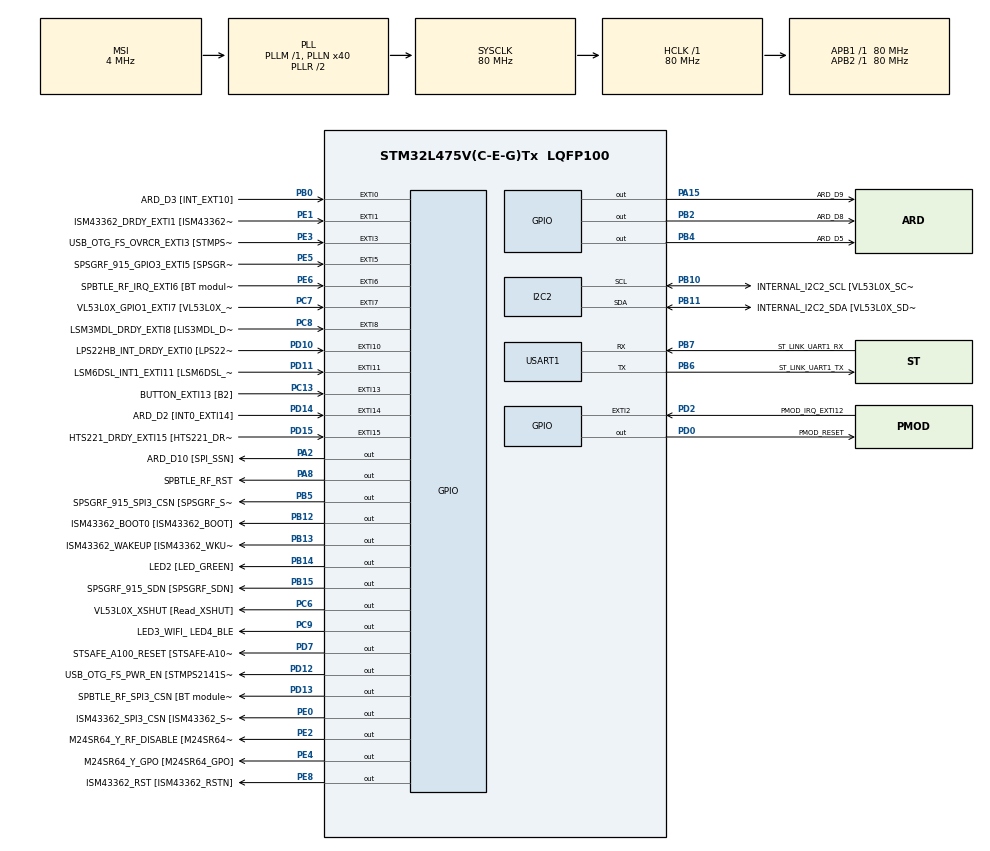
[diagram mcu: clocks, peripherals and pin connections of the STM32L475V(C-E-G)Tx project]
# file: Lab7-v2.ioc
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I2C2.Timing=0x10D19CE4
Mcu.Family=STM32L4
Mcu.Name=STM32L475V(C-E-G)Tx
Mcu.Package=LQFP100
NVIC.EXTI15_10_IRQn=true\:0\:0\:false\:false\:true\:true\:true\:true
NVIC.EXTI9_5_IRQn=true\:0\:0\:false\:false\:true\:true\:true\:true
NVIC.PriorityGroup=NVIC_PRIORITYGROUP_4
PA0.GPIO_Label=ARD_D1 [UART4_TX]
PA0.Signal=UART4_TX
PA1.GPIO_Label=ARD_D0 [UART4_RX]
PA1.Signal=UART4_RX
PA10.GPIO_Label=USB_OTG_FS_ID
PA10.Signal=USB_OTG_FS_ID
PA11.GPIO_Label=USB_OTG_FS_DM
PA11.Signal=USB_OTG_FS_DM
PA12.GPIO_Label=USB_OTG_FS_DP
PA12.Signal=USB_OTG_FS_DP
PA13\ (JTMS-SWDIO).GPIO_Label=SYS_JTMS_SWDIO
PA13\ (JTMS-SWDIO).Signal=SYS_JTMS-SWDIO
PA14\ (JTCK-SWCLK).GPIO_Label=SYS_JTCK_SWCLK
PA14\ (JTCK-SWCLK).Signal=SYS_JTCK-SWCLK
PA15\ (JTDI).GPIO_Label=ARD_D9
PA15\ (JTDI).Signal=GPIO_Output
PA2.GPIO_Label=ARD_D10 [SPI_SSN]
PA2.Signal=GPIO_Output
PA3.GPIO_Label=ARD_D4
PA3.Signal=S_TIM2_CH4
PA4.GPIO_Label=ARD_D7
PA4.Signal=ADCx_IN9
PA5.GPIO_Label=ARD_D13 [SPI1_SCK]
PA5.Signal=SPI1_SCK
PA6.GPIO_Label=ARD_D12 [SPI1_MISO]
PA6.Signal=SPI1_MISO
PA7.GPIO_Label=ARD_D11 [SPI1_MOSI]
PA7.Signal=SPI1_MOSI
PA8.GPIO_Label=SPBTLE_RF_RST
PA8.Signal=GPIO_Output
PA9.GPIO_Label=USB_OTG_FS_VBUS [STMPS2141STR_OUT]
PA9.Signal=USB_OTG_FS_VBUS
PB0.GPIO_Label=ARD_D3 [INT_EXT10]
PB0.Signal=GPXTI0
PB1.GPIO_Label=ARD_D6 [ADC1_IN6]
PB1.Signal=ADCx_IN16
PB10.GPIO_Label=INTERNAL_I2C2_SCL [VL53L0X_SCL]
PB10.Mode=I2C
PB10.Signal=I2C2_SCL
PB11.GPIO_Label=INTERNAL_I2C2_SDA [VL53L0X_SDA]
PB11.Mode=I2C
PB11.Signal=I2C2_SDA
PB12.GPIO_Label=ISM43362_BOOT0 [ISM43362_BOOT]
PB12.Signal=GPIO_Output
PB13.GPIO_Label=ISM43362_WAKEUP [ISM43362_WKUP]
PB13.Signal=GPIO_Output
PB14.GPIO_Label=LED2 [LED_GREEN]
PB14.Signal=GPIO_Output
PB15.GPIO_Label=SPSGRF_915_SDN [SPSGRF_SDN]
PB15.Signal=GPIO_Output
PB2.GPIO_Label=ARD_D8
PB2.Signal=GPIO_Output
PB3\ (JTDO-TRACESWO).GPIO_Label=SYS_JTD0_SWO
PB3\ (JTDO-TRACESWO).Signal=SYS_JTDO-SWO
PB4\ (NJTRST).GPIO_Label=ARD_D5
PB4\ (NJTRST).Signal=GPIO_Output
PB5.GPIO_Label=SPSGRF_915_SPI3_CSN [SPSGRF_SPI_CS]
PB5.PinState=GPIO_PIN_SET
PB5.Signal=GPIO_Output
PB6.GPIO_Label=ST_LINK_UART1_TX
PB6.Mode=Asynchronous
PB6.Signal=USART1_TX
PB7.GPIO_Label=ST_LINK_UART1_RX
PB7.Mode=Asynchronous
PB7.Signal=USART1_RX
PB8.GPIO_Label=ARD_D15 [I2C1_SCL]
PB8.Signal=I2C1_SCL
PB9.GPIO_Label=ARD_D14 [I2C1_SDA]
PB9.Signal=I2C1_SDA
PC0.GPIO_Label=ARD_A5 [ADC]
PC0.Signal=ADCx_IN1
PC1.GPIO_Label=ARD_A4 [ADC]
PC1.Signal=ADCx_IN2
PC10.GPIO_Label=INTERNAL_SPI3_SCK [BT module_SPI_SCLK] [ISM43362_SCK]
PC10.Signal=SPI3_SCK
PC11.GPIO_Label=INTERNAL_SPI3_MISO [BT module_SPI_MISO] [ISM43362_MISO]
PC11.Signal=SPI3_MISO
PC12.GPIO_Label=INTERNAL_SPI3_MOSI [BT module_SPI_MOSI] [ISM43362_MOSI]
PC12.Signal=SPI3_MOSI
PC13.GPIO_Label=BUTTON_EXTI13 [B2]
PC13.GPIO_ModeDefaultEXTI=GPIO_MODE_IT_FALLING
PC13.Signal=GPXTI13
PC14-OSC32_IN\ (PC14).Signal=RCC_OSC32_IN
PC15-OSC32_OUT\ (PC15).Signal=RCC_OSC32_OUT
PC2.GPIO_Label=ARD_A3 [ADC]
PC2.Signal=ADCx_IN3
PC3.GPIO_Label=ARD_A2 [ADC]
PC3.Signal=ADCx_IN4
PC4.GPIO_Label=ARD_A1 [ADC]
PC4.Signal=ADCx_IN13
PC5.GPIO_Label=ARD_A0 [ADC]
PC5.Signal=ADCx_IN14
PC6.GPIO_Label=VL53L0X_XSHUT [Read_XSHUT]
PC6.Signal=GPIO_Output
PC7.GPIO_Label=VL53L0X_GPIO1_EXTI7 [VL53L0X_GPIO1]
PC7.Signal=GPXTI7
PC8.GPIO_Label=LSM3MDL_DRDY_EXTI8 [LIS3MDL_DRDY]
PC8.Signal=GPXTI8
PC9.GPIO_Label=LED3_WIFI_ LED4_BLE
PC9.Signal=GPIO_Output
PD0.GPIO_Label=PMOD_RESET
PD0.Signal=GPIO_Output
PD1.GPIO_Label=PMOD_SPI2_SCK
PD1.Signal=SPI2_SCK
PD10.GPIO_Label=LPS22HB_INT_DRDY_EXTI0 [LPS22HB_INT_DRDY] 
PD10.Signal=GPXTI10
PD11.GPIO_Label=LSM6DSL_INT1_EXTI11 [LSM6DSL_INT1]
PD11.Signal=GPXTI11
PD12.GPIO_Label=USB_OTG_FS_PWR_EN [STMPS2141STR_EN]
PD12.Signal=GPIO_Output
PD13.GPIO_Label=SPBTLE_RF_SPI3_CSN [BT module_SPI_CS]
PD13.PinState=GPIO_PIN_SET
PD13.Signal=GPIO_Output
PD14.GPIO_Label=ARD_D2 [INT0_EXTI14]
PD14.Signal=GPXTI14
PD15.GPIO_Label=HTS221_DRDY_EXTI15 [HTS221_DRDY]
PD15.Signal=GPXTI15
PD2.GPIO_Label=PMOD_IRQ_EXTI12
PD2.Signal=GPXTI2
PD3.GPIO_Label=PMOD_UART2_CTS
PD3.Signal=USART2_CTS
PD4.GPIO_Label=PMOD_UART2_RTS
PD4.Signal=USART2_RTS
PD5.GPIO_Label=PMOD_UART2_TX
PD5.Signal=USART2_TX
PD6.GPIO_Label=PMOD_UART2_RX
PD6.Signal=USART2_RX
PD7.GPIO_Label=STSAFE_A100_RESET [STSAFE-A100_RESET]
PD7.Signal=GPIO_Output
PD8.GPIO_Label=INTERNAL_UART3_TX [ISM43362_RX]
PD8.Signal=USART3_TX
PD9.GPIO_Label=INTERNAL_UART3_RX [ISM43362_TX]
PD9.Signal=USART3_RX
PE0.GPIO_Label=ISM43362_SPI3_CSN [ISM43362_SSN]
PE0.PinState=GPIO_PIN_SET
PE0.Signal=GPIO_Output
PE1.GPIO_Label=ISM43362_DRDY_EXTI1 [ISM43362_DATARDY]
PE1.Signal=GPXTI1
PE10.GPIO_Label=QUADSPI_CLK [MX25R6435F_SCLK]
PE10.Signal=QUADSPI_CLK
PE11.GPIO_Label=QUADSPI_NCS [MX25R6435F_SCLK]
PE11.Signal=QUADSPI_NCS
PE12.GPIO_Label=OQUADSPI_BK1_IO0 [MX25R6435F_IO0]
PE12.Signal=QUADSPI_BK1_IO0
PE13.GPIO_Label=QUADSPI_BK1_IO1 [MX25R6435F_IO1]
PE13.Signal=QUADSPI_BK1_IO1
PE14.GPIO_Label=QUAD_SPI_BK1_IO2 [MX25R6435F_IO2]
PE14.Signal=QUADSPI_BK1_IO2
PE15.GPIO_Label=QUAD_SPI_BK1_IO3 [MX25R6435F_IO3]
PE15.Signal=QUADSPI_BK1_IO3
PE2.GPIO_Label=M24SR64_Y_RF_DISABLE [M24SR64_RFDIS]
PE2.Signal=GPIO_Output
PE3.GPIO_Label=USB_OTG_FS_OVRCR_EXTI3 [STMPS2141STR_FAULT]
PE3.Signal=GPXTI3
PE4.GPIO_Label=M24SR64_Y_GPO [M24SR64_GPO]
PE4.Signal=GPIO_Output
PE5.GPIO_Label=SPSGRF_915_GPIO3_EXTI5 [SPSGRF_GPIO_3]
PE5.Signal=GPXTI5
PE6.GPIO_Label=SPBTLE_RF_IRQ_EXTI6 [BT module_SPI_IRQ]
PE6.Signal=GPXTI6
PE7.GPIO_Label=DFSDM1_DATIN2 [MP34DT01_DOUT]
PE7.Signal=S_DATAIN2DFSDM1
PE8.GPIO_Label=ISM43362_RST [ISM43362_RSTN]
PE8.Signal=GPIO_Output
PE9.GPIO_Label=DFSDM1_CKOUT [MP34DT01_CLK]
PE9.Signal=S_CKOUTDFSDM1
ProjectManager.HeapSize=0x200
ProjectManager.StackSize=0x400
ProjectManager.TargetToolchain=STM32CubeIDE
RCC.ADCFreq_Value=48000000
RCC.AHBFreq_Value=80000000
RCC.APB1Freq_Value=80000000
RCC.APB1TimFreq_Value=80000000
RCC.APB2Freq_Value=80000000
RCC.APB2TimFreq_Value=80000000
RCC.CortexFreq_Value=80000000
RCC.HCLKFreq_Value=80000000
RCC.HSE_VALUE=8000000
RCC.HSI_VALUE=16000000
RCC.LSE_VALUE=32768
RCC.MSI_VALUE=4000000
RCC.PLLN=40
RCC.PLLSAI1N=24
RCC.SYSCLKFreq_VALUE=80000000
RCC.SYSCLKSource=RCC_SYSCLKSOURCE_PLLCLK
RCC.USBFreq_Value=48000000
RCC.VCOOutputFreq_Value=160000000
SH.ADCx_IN1.0=ADC1_IN1
SH.ADCx_IN13.0=ADC1_IN13
SH.ADCx_IN14.0=ADC1_IN14
SH.ADCx_IN16.0=ADC1_IN16
SH.ADCx_IN2.0=ADC1_IN2
SH.ADCx_IN3.0=ADC1_IN3
SH.ADCx_IN4.0=ADC1_IN4
SH.ADCx_IN9.0=ADC1_IN9
SH.S_CKOUTDFSDM1.0=DFSDM1_CKOUT
SH.S_DATAIN2DFSDM1.0=DFSDM1_DATIN2
SH.S_TIM2_CH4.0=TIM2_CH4
USART1.VirtualMode-Asynchronous=VM_ASYNC
board=B-L475E-IOT01A1

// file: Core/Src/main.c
/* USER CODE BEGIN Header */
/**
  ******************************************************************************
  * @file           : main.c
  * @brief          : Main program body
  ******************************************************************************
  * @attention
  *
  * Copyright (c) 2025 STMicroelectronics.
  * All rights reserved.
  *
  * This software is licensed under terms that can be found in the LICENSE file
  * in the root directory of this software component.
  * If no LICENSE file comes with this software, it is provided AS-IS.
  *
  ******************************************************************************
  */
/* USER CODE END Header */
#include "main.h"
#include "arm_math.h"
#include "../../Drivers/BSP/B-L475E-IOT01/stm32l475e_iot01.h"
/* USER CODE BEGIN Includes */
#include "math_helper.h"

/* ----------------------------------------------------------------------
** Macro Defines
** ------------------------------------------------------------------- */

#define TEST_LENGTH_SAMPLES  320
#define SNR_THRESHOLD_F32    140.0f
//#define BLOCK_SIZE            32
#define NUM_TAPS              29
#define NUM_TAPS 29
#define BLOCK_SIZE 1   // 每次處理1筆資料
#define SAMPLE_DELAY 1000 // 每100ms取樣一次
/* -------------------------------------------------------------------
 * The input signal and reference output (computed with MATLAB)
 * are defined externally in arm_fir_lpf_data.c.
 * ------------------------------------------------------------------- */

extern float32_t testInput_f32_1kHz_15kHz[TEST_LENGTH_SAMPLES];
extern float32_t refOutput[TEST_LENGTH_SAMPLES];

/* -------------------------------------------------------------------
 * Declare Test output buffer
 * ------------------------------------------------------------------- */

static float32_t testOutput[TEST_LENGTH_SAMPLES];

/* -------------------------------------------------------------------
 * Declare State buffer of size (numTaps + blockSize - 1)
 * ------------------------------------------------------------------- */

static float32_t firStateF32[BLOCK_SIZE + NUM_TAPS - 1];

/* ----------------------------------------------------------------------
** FIR Coefficients buffer generated using fir1() MATLAB function.
** fir1(28, 6/24)
** ------------------------------------------------------------------- */

const float32_t firCoeffs32[NUM_TAPS] = {
  -0.0018225230f, -0.0015879294f, +0.0000000000f, +0.0036977508f, +0.0080754303f, +0.0085302217f, -0.0000000000f, -0.0173976984f,
  -0.0341458607f, -0.0333591565f, +0.0000000000f, +0.0676308395f, +0.1522061835f, +0.2229246956f, +0.2504960933f, +0.2229246956f,
  +0.1522061835f, +0.0676308395f, +0.0000000000f, -0.0333591565f, -0.0341458607f, -0.0173976984f, -0.0000000000f, +0.0085302217f,
  +0.0080754303f, +0.0036977508f, +0.0000000000f, -0.0015879294f, -0.0018225230f
};

/* ------------------------------------------------------------------
 * Global variables for FIR LPF Example
 * ------------------------------------------------------------------- */

uint32_t blockSize = BLOCK_SIZE;
uint32_t numBlocks = TEST_LENGTH_SAMPLES/BLOCK_SIZE;

float32_t  snr;

/* ----------------------------------------------------------------------
 * FIR LPF Example
 * ------------------------------------------------------------------- */
/* USER CODE END Includes */

I2C_HandleTypeDef hi2c2;

UART_HandleTypeDef huart1;

/* USER CODE BEGIN PV */
/* FIR instance and state for 3 axes */
arm_fir_instance_f32 Sx, Sy, Sz;
float32_t firStateX[NUM_TAPS + BLOCK_SIZE - 1];
float32_t firStateY[NUM_TAPS + BLOCK_SIZE - 1];
float32_t firStateZ[NUM_TAPS + BLOCK_SIZE - 1];

/* Function Prototypes */
void SystemClock_Config(void);
static void MX_GPIO_Init(void);
static void MX_USART1_UART_Init(void);
static void MX_I2C2_Init(void);
/* USER CODE END PV */

void SystemClock_Config(void);
static void MX_GPIO_Init(void);
static void MX_USART1_UART_Init(void);
static void MX_I2C2_Init(void);
/* USER CODE BEGIN PFP */
int __io_putchar(int ch)
{
HAL_UART_Transmit(&huart1, (uint8_t *)&ch, 1, 0xFFFF);
return ch;
}

/* USER CODE END PFP */

int main(void)
{

  /* MCU Configuration--------------------------------------------------------*/

  /* Reset of all peripherals, Initializes the Flash interface and the Systick. */
  HAL_Init();

  /* Configure the system clock */
  SystemClock_Config();

  /* Initialize all configured peripherals */
  MX_GPIO_Init();
  MX_USART1_UART_Init();
  MX_I2C2_Init();
  /* USER CODE BEGIN 2 */
  printf("\r\n=== 3-Axis Accelerometer FIR Filter Demo ===\r\n");

    /* Initialize Accelerometer (LSM6DSL) */
    BSP_ACCELERO_Init();

    /* Initialize FIR filters for X/Y/Z */
    arm_fir_init_f32(&Sx, NUM_TAPS, (float32_t *)firCoeffs32, firStateX, BLOCK_SIZE);
    arm_fir_init_f32(&Sy, NUM_TAPS, (float32_t *)firCoeffs32, firStateY, BLOCK_SIZE);
    arm_fir_init_f32(&Sz, NUM_TAPS, (float32_t *)firCoeffs32, firStateZ, BLOCK_SIZE);

    int16_t rawData[3];
    float32_t x_in, y_in, z_in;
    float32_t x_out, y_out, z_out;
    printf("=== FIR Test Mode ===\r\n");
    Test_FIR_Verify();

  /* USER CODE END 2 */

  /* Infinite loop */
  /* USER CODE BEGIN WHILE */
  while (1)
  {
	    BSP_ACCELERO_AccGetXYZ(rawData);
	    x_in = (float32_t)rawData[0];
	    y_in = (float32_t)rawData[1];
	    z_in = (float32_t)rawData[2];

	    /* Apply FIR to each axis */
	    arm_fir_f32(&Sx, &x_in, &x_out, BLOCK_SIZE);
	    arm_fir_f32(&Sy, &y_in, &y_out, BLOCK_SIZE);
	    arm_fir_f32(&Sz, &z_in, &z_out, BLOCK_SIZE);

	    /* Print results */
	    printf("X_raw=%6d    Y_raw=%6d     Z_raw=%6d \r\n",rawData[0], rawData[1],  rawData[2]);
	    printf("X_filt=%8.2f Y_filt=%8.2f  Z_filt=%8.2f\r\n", x_out, y_out, z_out);

	    HAL_Delay(SAMPLE_DELAY);
    /* USER CODE END WHILE */

  }
}

void Test_FIR_Verify(void)
{
    float32_t testInput[10] = {1, 0, 0, 0, 0, 0, 0, 0, 0, 0}; // Impulse input
    float32_t testOutput[10];
    arm_fir_instance_f32 S;
    float32_t firState[NUM_TAPS + 9];

    arm_fir_init_f32(&S, NUM_TAPS, (float32_t *)firCoeffs32, firState, 1);

    for (int i = 0; i < 10; i++) {
        arm_fir_f32(&S, &testInput[i], &testOutput[i], 1);
        printf("y[%2d] = %.7f\r\n", i, testOutput[i]);
    }
}

void SystemClock_Config(void)
{
  RCC_OscInitTypeDef RCC_OscInitStruct = {0};
  RCC_ClkInitTypeDef RCC_ClkInitStruct = {0};

  /** Configure the main internal regulator output voltage
  */
  if (HAL_PWREx_ControlVoltageScaling(PWR_REGULATOR_VOLTAGE_SCALE1) != HAL_OK)
  {
    Error_Handler();
  }

  /** Initializes the RCC Oscillators according to the specified parameters
  * in the RCC_OscInitTypeDef structure.
  */
  RCC_OscInitStruct.OscillatorType = RCC_OSCILLATORTYPE_MSI;
  RCC_OscInitStruct.MSIState = RCC_MSI_ON;
  RCC_OscInitStruct.MSICalibrationValue = 0;
  RCC_OscInitStruct.MSIClockRange = RCC_MSIRANGE_6;
  RCC_OscInitStruct.PLL.PLLState = RCC_PLL_ON;
  RCC_OscInitStruct.PLL.PLLSource = RCC_PLLSOURCE_MSI;
  RCC_OscInitStruct.PLL.PLLM = 1;
  RCC_OscInitStruct.PLL.PLLN = 40;
  RCC_OscInitStruct.PLL.PLLP = RCC_PLLP_DIV7;
  RCC_OscInitStruct.PLL.PLLQ = RCC_PLLQ_DIV2;
  RCC_OscInitStruct.PLL.PLLR = RCC_PLLR_DIV2;
  if (HAL_RCC_OscConfig(&RCC_OscInitStruct) != HAL_OK)
  {
    Error_Handler();
  }

  /** Initializes the CPU, AHB and APB buses clocks
  */
  RCC_ClkInitStruct.ClockType = RCC_CLOCKTYPE_HCLK|RCC_CLOCKTYPE_SYSCLK
                              |RCC_CLOCKTYPE_PCLK1|RCC_CLOCKTYPE_PCLK2;
  RCC_ClkInitStruct.SYSCLKSource = RCC_SYSCLKSOURCE_PLLCLK;
  RCC_ClkInitStruct.AHBCLKDivider = RCC_SYSCLK_DIV1;
  RCC_ClkInitStruct.APB1CLKDivider = RCC_HCLK_DIV1;
  RCC_ClkInitStruct.APB2CLKDivider = RCC_HCLK_DIV1;

  if (HAL_RCC_ClockConfig(&RCC_ClkInitStruct, FLASH_LATENCY_4) != HAL_OK)
  {
    Error_Handler();
  }
}

static void MX_I2C2_Init(void)
{

  hi2c2.Instance = I2C2;
  hi2c2.Init.Timing = 0x10D19CE4;
  hi2c2.Init.OwnAddress1 = 0;
  hi2c2.Init.AddressingMode = I2C_ADDRESSINGMODE_7BIT;
  hi2c2.Init.DualAddressMode = I2C_DUALADDRESS_DISABLE;
  hi2c2.Init.OwnAddress2 = 0;
  hi2c2.Init.OwnAddress2Masks = I2C_OA2_NOMASK;
  hi2c2.Init.GeneralCallMode = I2C_GENERALCALL_DISABLE;
  hi2c2.Init.NoStretchMode = I2C_NOSTRETCH_DISABLE;
  if (HAL_I2C_Init(&hi2c2) != HAL_OK)
  {
    Error_Handler();
  }

  /** Configure Analogue filter
  */
  if (HAL_I2CEx_ConfigAnalogFilter(&hi2c2, I2C_ANALOGFILTER_ENABLE) != HAL_OK)
  {
    Error_Handler();
  }

  /** Configure Digital filter
  */
  if (HAL_I2CEx_ConfigDigitalFilter(&hi2c2, 0) != HAL_OK)
  {
    Error_Handler();
  }

}

static void MX_USART1_UART_Init(void)
{

  huart1.Instance = USART1;
  huart1.Init.BaudRate = 115200;
  huart1.Init.WordLength = UART_WORDLENGTH_8B;
  huart1.Init.StopBits = UART_STOPBITS_1;
  huart1.Init.Parity = UART_PARITY_NONE;
  huart1.Init.Mode = UART_MODE_TX_RX;
  huart1.Init.HwFlowCtl = UART_HWCONTROL_NONE;
  huart1.Init.OverSampling = UART_OVERSAMPLING_16;
  huart1.Init.OneBitSampling = UART_ONE_BIT_SAMPLE_DISABLE;
  huart1.AdvancedInit.AdvFeatureInit = UART_ADVFEATURE_NO_INIT;
  if (HAL_UART_Init(&huart1) != HAL_OK)
  {
    Error_Handler();
  }

}

static void MX_GPIO_Init(void)
{
  GPIO_InitTypeDef GPIO_InitStruct = {0};

  /* GPIO Ports Clock Enable */
  __HAL_RCC_GPIOE_CLK_ENABLE();
  __HAL_RCC_GPIOC_CLK_ENABLE();
  __HAL_RCC_GPIOA_CLK_ENABLE();
  __HAL_RCC_GPIOB_CLK_ENABLE();
  __HAL_RCC_GPIOD_CLK_ENABLE();

  /*Configure GPIO pin Output Level */
  HAL_GPIO_WritePin(GPIOE, M24SR64_Y_RF_DISABLE_Pin|M24SR64_Y_GPO_Pin|ISM43362_RST_Pin, GPIO_PIN_RESET);

  /*Configure GPIO pin Output Level */
  HAL_GPIO_WritePin(GPIOA, ARD_D10_Pin|SPBTLE_RF_RST_Pin|ARD_D9_Pin, GPIO_PIN_RESET);

  /*Configure GPIO pin Output Level */
  HAL_GPIO_WritePin(GPIOB, ARD_D8_Pin|ISM43362_BOOT0_Pin|ISM43362_WAKEUP_Pin|LED2_Pin
                          |SPSGRF_915_SDN_Pin|ARD_D5_Pin, GPIO_PIN_RESET);

  /*Configure GPIO pin Output Level */
  HAL_GPIO_WritePin(GPIOD, USB_OTG_FS_PWR_EN_Pin|PMOD_RESET_Pin|STSAFE_A100_RESET_Pin, GPIO_PIN_RESET);

  /*Configure GPIO pin Output Level */
  HAL_GPIO_WritePin(SPBTLE_RF_SPI3_CSN_GPIO_Port, SPBTLE_RF_SPI3_CSN_Pin, GPIO_PIN_SET);

  /*Configure GPIO pin Output Level */
  HAL_GPIO_WritePin(GPIOC, VL53L0X_XSHUT_Pin|LED3_WIFI__LED4_BLE_Pin, GPIO_PIN_RESET);

  /*Configure GPIO pin Output Level */
  HAL_GPIO_WritePin(SPSGRF_915_SPI3_CSN_GPIO_Port, SPSGRF_915_SPI3_CSN_Pin, GPIO_PIN_SET);

  /*Configure GPIO pin Output Level */
  HAL_GPIO_WritePin(ISM43362_SPI3_CSN_GPIO_Port, ISM43362_SPI3_CSN_Pin, GPIO_PIN_SET);

  /*Configure GPIO pins : M24SR64_Y_RF_DISABLE_Pin M24SR64_Y_GPO_Pin ISM43362_RST_Pin ISM43362_SPI3_CSN_Pin */
  GPIO_InitStruct.Pin = M24SR64_Y_RF_DISABLE_Pin|M24SR64_Y_GPO_Pin|ISM43362_RST_Pin|ISM43362_SPI3_CSN_Pin;
  GPIO_InitStruct.Mode = GPIO_MODE_OUTPUT_PP;
  GPIO_InitStruct.Pull = GPIO_NOPULL;
  GPIO_InitStruct.Speed = GPIO_SPEED_FREQ_LOW;
  HAL_GPIO_Init(GPIOE, &GPIO_InitStruct);

  /*Configure GPIO pins : USB_OTG_FS_OVRCR_EXTI3_Pin SPSGRF_915_GPIO3_EXTI5_Pin SPBTLE_RF_IRQ_EXTI6_Pin ISM43362_DRDY_EXTI1_Pin */
  GPIO_InitStruct.Pin = USB_OTG_FS_OVRCR_EXTI3_Pin|SPSGRF_915_GPIO3_EXTI5_Pin|SPBTLE_RF_IRQ_EXTI6_Pin|ISM43362_DRDY_EXTI1_Pin;
  GPIO_InitStruct.Mode = GPIO_MODE_IT_RISING;
  GPIO_InitStruct.Pull = GPIO_NOPULL;
  HAL_GPIO_Init(GPIOE, &GPIO_InitStruct);

  /*Configure GPIO pin : BUTTON_EXTI13_Pin */
  GPIO_InitStruct.Pin = BUTTON_EXTI13_Pin;
  GPIO_InitStruct.Mode = GPIO_MODE_IT_FALLING;
  GPIO_InitStruct.Pull = GPIO_NOPULL;
  HAL_GPIO_Init(BUTTON_EXTI13_GPIO_Port, &GPIO_InitStruct);

  /*Configure GPIO pins : ARD_A5_Pin ARD_A4_Pin ARD_A3_Pin ARD_A2_Pin
                           ARD_A1_Pin ARD_A0_Pin */
  GPIO_InitStruct.Pin = ARD_A5_Pin|ARD_A4_Pin|ARD_A3_Pin|ARD_A2_Pin
                          |ARD_A1_Pin|ARD_A0_Pin;
  GPIO_InitStruct.Mode = GPIO_MODE_ANALOG_ADC_CONTROL;
  GPIO_InitStruct.Pull = GPIO_NOPULL;
  HAL_GPIO_Init(GPIOC, &GPIO_InitStruct);

  /*Configure GPIO pins : ARD_D1_Pin ARD_D0_Pin */
  GPIO_InitStruct.Pin = ARD_D1_Pin|ARD_D0_Pin;
  GPIO_InitStruct.Mode = GPIO_MODE_AF_PP;
  GPIO_InitStruct.Pull = GPIO_NOPULL;
  GPIO_InitStruct.Speed = GPIO_SPEED_FREQ_VERY_HIGH;
  GPIO_InitStruct.Alternate = GPIO_AF8_UART4;
  HAL_GPIO_Init(GPIOA, &GPIO_InitStruct);

  /*Configure GPIO pins : ARD_D10_Pin SPBTLE_RF_RST_Pin ARD_D9_Pin */
  GPIO_InitStruct.Pin = ARD_D10_Pin|SPBTLE_RF_RST_Pin|ARD_D9_Pin;
  GPIO_InitStruct.Mode = GPIO_MODE_OUTPUT_PP;
  GPIO_InitStruct.Pull = GPIO_NOPULL;
  GPIO_InitStruct.Speed = GPIO_SPEED_FREQ_LOW;
  HAL_GPIO_Init(GPIOA, &GPIO_InitStruct);

  /*Configure GPIO pin : ARD_D4_Pin */
  GPIO_InitStruct.Pin = ARD_D4_Pin;
  GPIO_InitStruct.Mode = GPIO_MODE_AF_PP;
  GPIO_InitStruct.Pull = GPIO_NOPULL;
  GPIO_InitStruct.Speed = GPIO_SPEED_FREQ_LOW;
  GPIO_InitStruct.Alternate = GPIO_AF1_TIM2;
  HAL_GPIO_Init(ARD_D4_GPIO_Port, &GPIO_InitStruct);

  /*Configure GPIO pin : ARD_D7_Pin */
  GPIO_InitStruct.Pin = ARD_D7_Pin;
  GPIO_InitStruct.Mode = GPIO_MODE_ANALOG_ADC_CONTROL;
  GPIO_InitStruct.Pull = GPIO_NOPULL;
  HAL_GPIO_Init(ARD_D7_GPIO_Port, &GPIO_InitStruct);

  /*Configure GPIO pins : ARD_D13_Pin ARD_D12_Pin ARD_D11_Pin */
  GPIO_InitStruct.Pin = ARD_D13_Pin|ARD_D12_Pin|ARD_D11_Pin;
  GPIO_InitStruct.Mode = GPIO_MODE_AF_PP;
  GPIO_InitStruct.Pull = GPIO_NOPULL;
  GPIO_InitStruct.Speed = GPIO_SPEED_FREQ_VERY_HIGH;
  GPIO_InitStruct.Alternate = GPIO_AF5_SPI1;
  HAL_GPIO_Init(GPIOA, &GPIO_InitStruct);

  /*Configure GPIO pin : ARD_D3_Pin */
  GPIO_InitStruct.Pin = ARD_D3_Pin;
  GPIO_InitStruct.Mode = GPIO_MODE_IT_RISING;
  GPIO_InitStruct.Pull = GPIO_NOPULL;
  HAL_GPIO_Init(ARD_D3_GPIO_Port, &GPIO_InitStruct);

  /*Configure GPIO pin : ARD_D6_Pin */
  GPIO_InitStruct.Pin = ARD_D6_Pin;
  GPIO_InitStruct.Mode = GPIO_MODE_ANALOG_ADC_CONTROL;
  GPIO_InitStruct.Pull = GPIO_NOPULL;
  HAL_GPIO_Init(ARD_D6_GPIO_Port, &GPIO_InitStruct);

  /*Configure GPIO pins : ARD_D8_Pin ISM43362_BOOT0_Pin ISM43362_WAKEUP_Pin LED2_Pin
                           SPSGRF_915_SDN_Pin ARD_D5_Pin SPSGRF_915_SPI3_CSN_Pin */
  GPIO_InitStruct.Pin = ARD_D8_Pin|ISM43362_BOOT0_Pin|ISM43362_WAKEUP_Pin|LED2_Pin
                          |SPSGRF_915_SDN_Pin|ARD_D5_Pin|SPSGRF_915_SPI3_CSN_Pin;
  GPIO_InitStruct.Mode = GPIO_MODE_OUTPUT_PP;
  GPIO_InitStruct.Pull = GPIO_NOPULL;
  GPIO_InitStruct.Speed = GPIO_SPEED_FREQ_LOW;
  HAL_GPIO_Init(GPIOB, &GPIO_InitStruct);

  /*Configure GPIO pins : DFSDM1_DATIN2_Pin DFSDM1_CKOUT_Pin */
  GPIO_InitStruct.Pin = DFSDM1_DATIN2_Pin|DFSDM1_CKOUT_Pin;
  GPIO_InitStruct.Mode = GPIO_MODE_AF_PP;
  GPIO_InitStruct.Pull = GPIO_NOPULL;
  GPIO_InitStruct.Speed = GPIO_SPEED_FREQ_LOW;
  GPIO_InitStruct.Alternate = GPIO_AF6_DFSDM1;
  HAL_GPIO_Init(GPIOE, &GPIO_InitStruct);

  /*Configure GPIO pins : QUADSPI_CLK_Pin QUADSPI_NCS_Pin OQUADSPI_BK1_IO0_Pin QUADSPI_BK1_IO1_Pin
                           QUAD_SPI_BK1_IO2_Pin QUAD_SPI_BK1_IO3_Pin */
  GPIO_InitStruct.Pin = QUADSPI_CLK_Pin|QUADSPI_NCS_Pin|OQUADSPI_BK1_IO0_Pin|QUADSPI_BK1_IO1_Pin
                          |QUAD_SPI_BK1_IO2_Pin|QUAD_SPI_BK1_IO3_Pin;
  GPIO_InitStruct.Mode = GPIO_MODE_AF_PP;
  GPIO_InitStruct.Pull = GPIO_NOPULL;
  GPIO_InitStruct.Speed = GPIO_SPEED_FREQ_VERY_HIGH;
  GPIO_InitStruct.Alternate = GPIO_AF10_QUADSPI;
  HAL_GPIO_Init(GPIOE, &GPIO_InitStruct);

  /*Configure GPIO pins : INTERNAL_UART3_TX_Pin INTERNAL_UART3_RX_Pin */
  GPIO_InitStruct.Pin = INTERNAL_UART3_TX_Pin|INTERNAL_UART3_RX_Pin;
  GPIO_InitStruct.Mode = GPIO_MODE_AF_PP;
  GPIO_InitStruct.Pull = GPIO_NOPULL;
  GPIO_InitStruct.Speed = GPIO_SPEED_FREQ_VERY_HIGH;
  GPIO_InitStruct.Alternate = GPIO_AF7_USART3;
  HAL_GPIO_Init(GPIOD, &GPIO_InitStruct);

  /*Configure GPIO pins : LPS22HB_INT_DRDY_EXTI0_Pin LSM6DSL_INT1_EXTI11_Pin ARD_D2_Pin HTS221_DRDY_EXTI15_Pin
                           PMOD_IRQ_EXTI12_Pin */
  GPIO_InitStruct.Pin = LPS22HB_INT_DRDY_EXTI0_Pin|LSM6DSL_INT1_EXTI11_Pin|ARD_D2_Pin|HTS221_DRDY_EXTI15_Pin
                          |PMOD_IRQ_EXTI12_Pin;
  GPIO_InitStruct.Mode = GPIO_MODE_IT_RISING;
  GPIO_InitStruct.Pull = GPIO_NOPULL;
  HAL_GPIO_Init(GPIOD, &GPIO_InitStruct);

  /*Configure GPIO pins : USB_OTG_FS_PWR_EN_Pin SPBTLE_RF_SPI3_CSN_Pin PMOD_RESET_Pin STSAFE_A100_RESET_Pin */
  GPIO_InitStruct.Pin = USB_OTG_FS_PWR_EN_Pin|SPBTLE_RF_SPI3_CSN_Pin|PMOD_RESET_Pin|STSAFE_A100_RESET_Pin;
  GPIO_InitStruct.Mode = GPIO_MODE_OUTPUT_PP;
  GPIO_InitStruct.Pull = GPIO_NOPULL;
  GPIO_InitStruct.Speed = GPIO_SPEED_FREQ_LOW;
  HAL_GPIO_Init(GPIOD, &GPIO_InitStruct);

  /*Configure GPIO pins : VL53L0X_XSHUT_Pin LED3_WIFI__LED4_BLE_Pin */
  GPIO_InitStruct.Pin = VL53L0X_XSHUT_Pin|LED3_WIFI__LED4_BLE_Pin;
  GPIO_InitStruct.Mode = GPIO_MODE_OUTPUT_PP;
  GPIO_InitStruct.Pull = GPIO_NOPULL;
  GPIO_InitStruct.Speed = GPIO_SPEED_FREQ_LOW;
  HAL_GPIO_Init(GPIOC, &GPIO_InitStruct);

  /*Configure GPIO pins : VL53L0X_GPIO1_EXTI7_Pin LSM3MDL_DRDY_EXTI8_Pin */
  GPIO_InitStruct.Pin = VL53L0X_GPIO1_EXTI7_Pin|LSM3MDL_DRDY_EXTI8_Pin;
  GPIO_InitStruct.Mode = GPIO_MODE_IT_RISING;
  GPIO_InitStruct.Pull = GPIO_NOPULL;
  HAL_GPIO_Init(GPIOC, &GPIO_InitStruct);

  /*Configure GPIO pin : USB_OTG_FS_VBUS_Pin */
  GPIO_InitStruct.Pin = USB_OTG_FS_VBUS_Pin;
  GPIO_InitStruct.Mode = GPIO_MODE_INPUT;
  GPIO_InitStruct.Pull = GPIO_NOPULL;
  HAL_GPIO_Init(USB_OTG_FS_VBUS_GPIO_Port, &GPIO_InitStruct);

  /*Configure GPIO pins : USB_OTG_FS_ID_Pin USB_OTG_FS_DM_Pin USB_OTG_FS_DP_Pin */
  GPIO_InitStruct.Pin = USB_OTG_FS_ID_Pin|USB_OTG_FS_DM_Pin|USB_OTG_FS_DP_Pin;
  GPIO_InitStruct.Mode = GPIO_MODE_AF_PP;
  GPIO_InitStruct.Pull = GPIO_NOPULL;
  GPIO_InitStruct.Speed = GPIO_SPEED_FREQ_VERY_HIGH;
  GPIO_InitStruct.Alternate = GPIO_AF10_OTG_FS;
  HAL_GPIO_Init(GPIOA, &GPIO_InitStruct);

  /*Configure GPIO pins : INTERNAL_SPI3_SCK_Pin INTERNAL_SPI3_MISO_Pin INTERNAL_SPI3_MOSI_Pin */
  GPIO_InitStruct.Pin = INTERNAL_SPI3_SCK_Pin|INTERNAL_SPI3_MISO_Pin|INTERNAL_SPI3_MOSI_Pin;
  GPIO_InitStruct.Mode = GPIO_MODE_AF_PP;
  GPIO_InitStruct.Pull = GPIO_NOPULL;
  GPIO_InitStruct.Speed = GPIO_SPEED_FREQ_VERY_HIGH;
  GPIO_InitStruct.Alternate = GPIO_AF6_SPI3;
  HAL_GPIO_Init(GPIOC, &GPIO_InitStruct);

  /*Configure GPIO pin : PMOD_SPI2_SCK_Pin */
  GPIO_InitStruct.Pin = PMOD_SPI2_SCK_Pin;
  GPIO_InitStruct.Mode = GPIO_MODE_AF_PP;
  GPIO_InitStruct.Pull = GPIO_NOPULL;
  GPIO_InitStruct.Speed = GPIO_SPEED_FREQ_VERY_HIGH;
  GPIO_InitStruct.Alternate = GPIO_AF5_SPI2;
  HAL_GPIO_Init(PMOD_SPI2_SCK_GPIO_Port, &GPIO_InitStruct);

  /*Configure GPIO pins : PMOD_UART2_CTS_Pin PMOD_UART2_RTS_Pin PMOD_UART2_TX_Pin PMOD_UART2_RX_Pin */
  GPIO_InitStruct.Pin = PMOD_UART2_CTS_Pin|PMOD_UART2_RTS_Pin|PMOD_UART2_TX_Pin|PMOD_UART2_RX_Pin;
  GPIO_InitStruct.Mode = GPIO_MODE_AF_PP;
  GPIO_InitStruct.Pull = GPIO_NOPULL;
  GPIO_InitStruct.Speed = GPIO_SPEED_FREQ_VERY_HIGH;
  GPIO_InitStruct.Alternate = GPIO_AF7_USART2;
  HAL_GPIO_Init(GPIOD, &GPIO_InitStruct);

  /*Configure GPIO pins : ARD_D15_Pin ARD_D14_Pin */
  GPIO_InitStruct.Pin = ARD_D15_Pin|ARD_D14_Pin;
  GPIO_InitStruct.Mode = GPIO_MODE_AF_OD;
  GPIO_InitStruct.Pull = GPIO_NOPULL;
  GPIO_InitStruct.Speed = GPIO_SPEED_FREQ_VERY_HIGH;
  GPIO_InitStruct.Alternate = GPIO_AF4_I2C1;
  HAL_GPIO_Init(GPIOB, &GPIO_InitStruct);

  /* EXTI interrupt init*/
  HAL_NVIC_SetPriority(EXTI9_5_IRQn, 0, 0);
  HAL_NVIC_EnableIRQ(EXTI9_5_IRQn);

  HAL_NVIC_SetPriority(EXTI15_10_IRQn, 0, 0);
  HAL_NVIC_EnableIRQ(EXTI15_10_IRQn);

}

void Error_Handler(void)
{
  __disable_irq();
  while (1)
  {
  }
}
